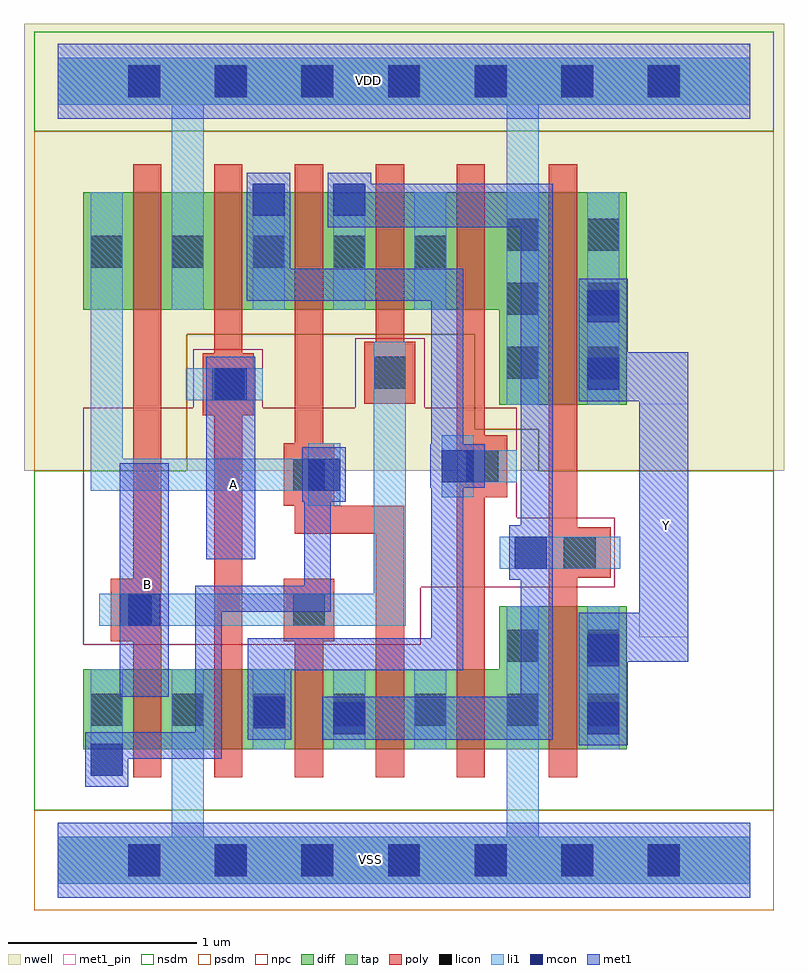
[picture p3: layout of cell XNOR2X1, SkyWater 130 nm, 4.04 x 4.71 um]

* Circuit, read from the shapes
.subckt XNOR2X1 A B VDD VSS Y
XM1 VSS B n1 VSS sky130_fd_pr__nfet_01v8 w=0.425 l=0.15
XM2 n2 A VSS VSS sky130_fd_pr__nfet_01v8 w=0.425 l=0.15
XM3 n3 B n2 VSS sky130_fd_pr__nfet_01v8 w=0.425 l=0.15
XM4 n4 n1 n3 VSS sky130_fd_pr__nfet_01v8 w=0.425 l=0.15
XM5 VSS n2 n4 VSS sky130_fd_pr__nfet_01v8 w=0.425 l=0.15
XM6 Y n3 VSS VSS sky130_fd_pr__nfet_01v8 w=0.76 l=0.15
XM7 VDD B n1 VDD sky130_fd_pr__pfet_01v8 w=0.625 l=0.15
XM8 n2 A VDD VDD sky130_fd_pr__pfet_01v8 w=0.625 l=0.15
XM9 n3 n1 n2 VDD sky130_fd_pr__pfet_01v8 w=0.625 l=0.15
XM10 n5 B n3 VDD sky130_fd_pr__pfet_01v8 w=0.625 l=0.15
XM11 VDD n2 n5 VDD sky130_fd_pr__pfet_01v8 w=0.625 l=0.15
XM12 Y n3 VDD VDD sky130_fd_pr__pfet_01v8 w=1.13 l=0.15
.ends

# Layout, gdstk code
from math import pi, radians
import gdstk
lib = gdstk.Library(unit=1e-6, precision=1e-09)
def R(c, l, rs):  # rectangles x0, y0, x1, y1
    for r in rs: c.add(gdstk.rectangle(r[:2], r[2:], *l))
def A(c, l, x, y, w, h, nx, ny, dx, dy):  # array of equal rectangles
    R(c, l, [(x+i*dx, y+j*dy, x+i*dx+w, y+j*dy+h) for i in range(nx) for j in range(ny)])
def P(c, l, *ps):  # polygons
    for p in ps: c.add(gdstk.Polygon(p, *l))
nwell = (64, 20)
diff = (65, 20)
tap = (65, 44)
poly = (66, 20)
licon = (66, 44)
li1 = (67, 20)
mcon = (67, 44)
met1_pin = (68, 16)
met1 = (68, 20)
nsdm = (93, 44)
psdm = (94, 20)
npc = (95, 20)

l1m1_c_cdns_750710154097 = lib.new_cell('L1M1_C_CDNS_750710154097')
R(l1m1_c_cdns_750710154097, li1, [(-0.085,-0.085,0.085,0.165)])
R(l1m1_c_cdns_750710154097, mcon, [(-0.085,-0.085,0.085,0.085)])
R(l1m1_c_cdns_750710154097, met1, [(-0.115,-0.145,0.115,0.145)])

l1m1_c_cdns_750710154091 = lib.new_cell('L1M1_C_CDNS_750710154091')
R(l1m1_c_cdns_750710154091, li1, [(-0.085,-0.165,0.085,0.165)])
R(l1m1_c_cdns_750710154091, mcon, [(-0.085,-0.085,0.085,0.085)])
R(l1m1_c_cdns_750710154091, met1, [(-0.115,-0.145,0.115,0.145)])

pyl1con_c_cdns_750710154 = lib.new_cell('PYL1CON_C_CDNS_750710154092')
R(pyl1con_c_cdns_750710154, poly, [(-0.135,-0.165,0.135,0.165)])
R(pyl1con_c_cdns_750710154, licon, [(-0.085,-0.085,0.085,0.085)])
R(pyl1con_c_cdns_750710154, npc, [(-0.185,-0.185,0.185,0.185)])

c_l1m1_c_cdns_750710154091 = lib.new_cell('L1M1_C_CDNS_7507101540910')
R(c_l1m1_c_cdns_750710154091, li1, [(-0.085,-0.165,0.085,0.085)])
R(c_l1m1_c_cdns_750710154091, mcon, [(-0.085,-0.085,0.085,0.085)])
R(c_l1m1_c_cdns_750710154091, met1, [(-0.115,-0.145,0.115,0.145)])

l1m1_c_cdns_750710154093 = lib.new_cell('L1M1_C_CDNS_750710154093')
R(l1m1_c_cdns_750710154093, li1, [(-0.085,-0.165,0.085,0.165)])
R(l1m1_c_cdns_750710154093, mcon, [(-0.085,-0.085,0.085,0.085)])
R(l1m1_c_cdns_750710154093, met1, [(-0.145,-0.115,0.145,0.115)])

l1m1_c_cdns_750710154094 = lib.new_cell('L1M1_C_CDNS_750710154094')
R(l1m1_c_cdns_750710154094, li1, [(-0.085,-0.345,0.085,0.345)])
R(l1m1_c_cdns_750710154094, mcon, [(-0.085,-0.265,0.085,-0.095), (-0.085,0.095,0.085,0.265)])
R(l1m1_c_cdns_750710154094, met1, [(-0.115,-0.325,0.115,0.325)])

l1m1_c_cdns_750710154090 = lib.new_cell('L1M1_C_CDNS_750710154090')
R(l1m1_c_cdns_750710154090, li1, [(-0.165,-0.085,0.165,0.085)])
R(l1m1_c_cdns_750710154090, mcon, [(-0.085,-0.085,0.085,0.085)])
R(l1m1_c_cdns_750710154090, met1, [(-0.115,-0.145,0.115,0.145)])

xnor2x1 = lib.new_cell('XNOR2X1')
R(xnor2x1, nwell, [(-0.18,2.07,3.86,4.305), (2.165,2.24,3.205,3.73), (-0.045,2.745,0.785,3.73), (0.425,2.745,1.215,3.73), (0.855,2.745,1.815,3.73), (1.455,2.745,2.245,3.73), (1.885,2.745,2.525,3.73), (-0.18,3.875,3.86,4.445)])
A(xnor2x1, diff, 0.4, 0.59, 0.15, 0.425, 5, 1, 0.43, 0)
A(xnor2x1, diff, 0.4, 2.925, 0.15, 0.625, 5, 1, 0.43, 0)
R(xnor2x1, diff, [(0.135,0.59,0.4,1.015), (0.55,0.59,0.605,1.015), (0.605,0.59,0.83,1.015), (0.98,0.59,1.205,1.015), (1.205,0.59,1.26,1.015), (1.41,0.59,1.465,1.015), (1.465,0.59,1.69,1.015), (1.84,0.59,1.895,1.015), (1.895,0.59,2.12,1.015), (2.27,0.59,2.345,1.015), (2.345,0.59,2.61,1.35), (2.61,0.59,2.76,1.35), (2.76,0.59,3.025,1.35), (2.345,2.42,2.61,3.55), (2.61,2.42,2.76,3.55), (2.76,2.42,3.025,3.55), (0.135,2.925,0.4,3.55), (0.55,2.925,0.605,3.55), (0.605,2.925,0.83,3.55), (0.98,2.925,1.035,3.55), (1.035,2.925,1.26,3.55), (1.41,2.925,1.635,3.55), (1.635,2.925,1.69,3.55), (1.84,2.925,2.065,3.55), (2.065,2.925,2.12,3.55), (2.27,2.925,2.345,3.55)])
A(xnor2x1, poly, 0.4, 0.44, 0.15, 0.055, 5, 2, 0.43, 0.67)
A(xnor2x1, poly, 0.4, 0.495, 0.15, 0.095, 5, 2, 0.43, 0.52)
A(xnor2x1, poly, 0.4, 0.59, 0.15, 0.425, 5, 1, 0.43, 0)
A(xnor2x1, poly, 0.4, 2.775, 0.15, 0.055, 5, 2, 0.43, 0.87)
A(xnor2x1, poly, 0.4, 2.83, 0.15, 0.095, 5, 2, 0.43, 0.72)
A(xnor2x1, poly, 0.4, 2.925, 0.15, 0.625, 5, 1, 0.43, 0)
R(xnor2x1, poly, [(2.61,0.44,2.76,0.495), (2.61,0.495,2.76,0.59), (2.61,0.59,2.76,1.35), (2.61,1.35,2.76,1.445), (2.61,1.445,2.76,1.5), (2.61,2.27,2.76,2.325), (2.61,2.325,2.76,2.42), (2.61,2.42,2.76,3.55), (2.61,3.55,2.76,3.645), (2.61,3.645,2.76,3.7)])
A(xnor2x1, licon, 0.375, -0.085, 0.17, 0.17, 7, 2, 0.46, 4.14)
A(xnor2x1, licon, 0.175, 0.715, 0.17, 0.17, 5, 2, 0.43, 2.435)
A(xnor2x1, licon, 2.385, 2.56, 0.17, 0.17, 1, 3, 0, 0.34)
A(xnor2x1, licon, 2.815, 2.56, 0.17, 0.17, 1, 3, 0, 0.34)
R(xnor2x1, licon, [(2.385,0.715,2.555,0.885), (2.815,0.715,2.985,0.885), (2.385,1.055,2.555,1.225), (2.815,1.055,2.985,1.225)])
A(xnor2x1, li1, 0.175, 0.59, 0.17, 0.425, 5, 1, 0.43, 0)
A(xnor2x1, li1, 0.175, 2.925, 0.17, 0.625, 5, 1, 0.43, 0)
R(xnor2x1, li1, [(2.385,0.59,2.555,1.35), (2.815,0.59,2.985,1.35), (2.385,2.42,2.555,3.55), (2.815,2.42,2.985,3.55)])
A(xnor2x1, mcon, 0.375, -0.085, 0.17, 0.17, 7, 2, 0.46, 4.14)
R(xnor2x1, met1_pin, [(0.33,0.87,0.59,2.11), (3.09,1.185,3.35,2.425), (0.79,1.6,1.05,2.675)])
R(xnor2x1, nsdm, [(-0.005,0.46,0.615,1.145), (0.595,0.46,1.215,1.145), (1.195,0.46,1.475,1.145), (1.455,0.46,1.905,1.145), (1.885,0.46,2.225,1.145), (2.205,0.46,3.165,1.48), (-0.125,3.875,3.805,4.405), (-0.125,3.93,3.805,4.35)])
P(xnor2x1, nsdm, [(3.805,2.07),(2.555,2.07),(2.555,2.29),(2.215,2.29),(2.215,2.795),(0.685,2.795),(0.685,2.07),(-0.125,2.07),(-0.125,0.265),(3.805,0.265)])
R(xnor2x1, psdm, [(-0.125,-0.265,3.805,0.265), (-0.125,-0.21,3.805,0.21), (2.555,2.07,3.805,2.29), (2.215,2.29,3.165,3.68), (-0.005,2.795,0.615,3.68), (0.595,2.795,1.045,3.68), (1.025,2.795,1.645,3.68), (1.625,2.795,2.075,3.68), (2.055,2.795,2.345,3.68)])
P(xnor2x1, psdm, [(3.805,3.875),(-0.125,3.875),(-0.125,2.07),(0.685,2.07),(0.685,2.795),(2.215,2.795),(2.215,2.29),(3.805,2.29)])
P(xnor2x1, npc, [(2.83,1.82),(2.44,1.82),(2.44,2.405),(0.135,2.405),(0.135,1.145),(1.93,1.145),(1.93,1.45),(2.83,1.45)])
xnor2x1.add(gdstk.FlexPath([(1.765,1.165),(1.765,1.81)], 0.15, ends=(0, 0.075), simple_path=True, layer=66, datatype=20))  # poly
xnor2x1.add(gdstk.FlexPath([(1.395,1.81),(1.765,1.81)], 0.15, ends="extended", simple_path=True, layer=66, datatype=20))  # poly
xnor2x1.add(gdstk.FlexPath([(1.335,2.05),(1.335,2.775)], 0.15, ends=(0.165, 0), simple_path=True, layer=66, datatype=20))  # poly
xnor2x1.add(gdstk.FlexPath([(1.335,2.05),(1.395,2.05)], 0.33, ends=(0.075, 0.075), simple_path=True, layer=66, datatype=20))  # poly
xnor2x1.add(gdstk.FlexPath([(1.335,1.81),(1.335,2.05)], 0.15, ends=(0.075, 0.165), simple_path=True, layer=66, datatype=20))  # poly
xnor2x1.add(gdstk.FlexPath([(1.335,2.05),(1.335,1.96)], 0.27, ends=(0.165, 0.075), simple_path=True, layer=66, datatype=20))  # poly
xnor2x1.add(gdstk.FlexPath([(1.765,2.775),(1.765,2.59)], 0.15, ends="flush", simple_path=True, layer=66, datatype=20))  # poly
xnor2x1.add(gdstk.FlexPath([(2.195,2.775),(2.195,1.095)], 0.15, ends="flush", simple_path=True, layer=66, datatype=20))  # poly
xnor2x1.add(gdstk.FlexPath([(0.905,2.88),(0.905,1.07)], 0.15, ends="flush", simple_path=True, layer=66, datatype=20))  # poly
xnor2x1.add(gdstk.FlexPath([(0.475,1.165),(0.475,2.85)], 0.15, ends="flush", simple_path=True, layer=66, datatype=20))  # poly
xnor2x1.add(gdstk.FlexPath([(2.685,2.27),(2.685,1.415)], 0.15, ends="flush", simple_path=True, layer=66, datatype=20))  # poly
xnor2x1.add(gdstk.FlexPath([(2.47,0),(3.42,0)], 0.25, ends=(0.085, 0.085), simple_path=True, layer=67, datatype=20))  # li1
xnor2x1.add(gdstk.FlexPath([(3.42,0),(3.595,0)], 0.25, ends=(0.085, 0.085), simple_path=True, layer=67, datatype=20))  # li1
xnor2x1.add(gdstk.FlexPath([(0.69,0),(2.47,0)], 0.25, ends=(0.085, 0.085), simple_path=True, layer=67, datatype=20))  # li1
xnor2x1.add(gdstk.FlexPath([(3.595,0),(3.68,0)], 0.25, ends=(0.085, 0), simple_path=True, layer=67, datatype=20))  # li1
xnor2x1.add(gdstk.FlexPath([(0,0),(0.69,0)], 0.25, ends=(0, 0.085), simple_path=True, layer=67, datatype=20))  # li1
xnor2x1.add(gdstk.FlexPath([(2.47,4.14),(3.42,4.14)], 0.25, ends=(0.085, 0.085), simple_path=True, layer=67, datatype=20))  # li1
xnor2x1.add(gdstk.FlexPath([(0,4.14),(0.69,4.14)], 0.25, ends=(0, 0.085), simple_path=True, layer=67, datatype=20))  # li1
xnor2x1.add(gdstk.FlexPath([(3.42,4.14),(3.595,4.14)], 0.25, ends=(0.085, 0.085), simple_path=True, layer=67, datatype=20))  # li1
xnor2x1.add(gdstk.FlexPath([(0.69,4.14),(2.47,4.14)], 0.25, ends=(0.085, 0.085), simple_path=True, layer=67, datatype=20))  # li1
xnor2x1.add(gdstk.FlexPath([(3.595,4.14),(3.68,4.14)], 0.25, ends=(0.085, 0), simple_path=True, layer=67, datatype=20))  # li1
xnor2x1.add(gdstk.FlexPath([(0.26,2.53),(0.18,2.53)], 0.17, ends=(0.085, 0), simple_path=True, layer=67, datatype=20))  # li1
xnor2x1.add(gdstk.FlexPath([(0.4,2.05),(0.26,2.05)], 0.17, ends=(0, 0.085), simple_path=True, layer=67, datatype=20))  # li1
xnor2x1.add(gdstk.FlexPath([(0.26,2.05),(0.26,2.53)], 0.17, ends="extended", simple_path=True, layer=67, datatype=20))  # li1
xnor2x1.add(gdstk.FlexPath([(2.47,0.655),(2.47,0)], 0.17, ends="flush", simple_path=True, layer=67, datatype=20))  # li1
xnor2x1.add(gdstk.FlexPath([(0.69,0.655),(0.69,0)], 0.17, ends="flush", simple_path=True, layer=67, datatype=20))  # li1
xnor2x1.add(gdstk.FlexPath([(2.47,3.55),(2.47,4.14)], 0.17, ends="flush", simple_path=True, layer=67, datatype=20))  # li1
xnor2x1.add(gdstk.FlexPath([(0.69,3.55),(0.69,4.14)], 0.17, ends="flush", simple_path=True, layer=67, datatype=20))  # li1
xnor2x1.add(gdstk.FlexPath([(0.685,2.53),(1.09,2.53)], 0.17, ends="flush", simple_path=True, layer=67, datatype=20))  # li1
xnor2x1.add(gdstk.FlexPath([(1.765,1.33),(1.765,2.755)], 0.17, ends=(0.085, 0), simple_path=True, layer=67, datatype=20))  # li1
xnor2x1.add(gdstk.FlexPath([(1.5,2.05),(0.4,2.05)], 0.17, ends="flush", simple_path=True, layer=67, datatype=20))  # li1
xnor2x1.add(gdstk.FlexPath([(2.135,2.095),(2.44,2.095)], 0.17, ends="flush", simple_path=True, layer=67, datatype=20))  # li1
xnor2x1.add(gdstk.FlexPath([(2.525,1.635),(2.99,1.635)], 0.17, ends="flush", simple_path=True, layer=67, datatype=20))  # li1
xnor2x1.add(gdstk.FlexPath([(0.26,2.53),(0.26,2.925)], 0.17, ends=(0.085, 0), simple_path=True, layer=67, datatype=20))  # li1
xnor2x1.add(gdstk.FlexPath([(1.765,1.33),(0.22,1.33)], 0.17, ends=(0.085, 0), simple_path=True, layer=67, datatype=20))  # li1
xnor2x1.add(gdstk.FlexPath([(1.85,1.33),(1.765,1.33)], 0.17, ends=(0, 0.085), simple_path=True, layer=67, datatype=20))  # li1
xnor2x1.add(gdstk.FlexPath([(0,4.14),(3.68,4.14)], 0.4, ends="flush", simple_path=True, layer=68, datatype=16))  # met1_pin
xnor2x1.add(gdstk.FlexPath([(0,0),(3.68,0)], 0.4, ends="flush", simple_path=True, layer=68, datatype=16))  # met1_pin
xnor2x1.add(gdstk.FlexPath([(1.38,2.05),(1.38,1.39)], 0.14, ends=(0, 0.07), simple_path=True, layer=68, datatype=20))  # met1
xnor2x1.add(gdstk.FlexPath([(1.38,1.39),(0.8,1.39)], 0.14, ends="extended", simple_path=True, layer=68, datatype=20))  # met1
xnor2x1.add(gdstk.FlexPath([(0.8,1.39),(0.8,0.61)], 0.14, ends="extended", simple_path=True, layer=68, datatype=20))  # met1
xnor2x1.add(gdstk.FlexPath([(0.8,0.61),(0.26,0.61)], 0.14, ends=(0.07, 0.115), simple_path=True, layer=68, datatype=20))  # met1
xnor2x1.add(gdstk.FlexPath([(0,4.14),(3.68,4.14)], 0.4, ends="flush", simple_path=True, layer=68, datatype=20))  # met1
xnor2x1.add(gdstk.FlexPath([(2.9,1.185),(2.9,0.935)], 0.26, ends=(0.13, 0.325), simple_path=True, layer=68, datatype=20))  # met1
xnor2x1.add(gdstk.FlexPath([(3.22,1.185),(2.9,1.185)], 0.26, ends="extended", simple_path=True, layer=68, datatype=20))  # met1
xnor2x1.add(gdstk.FlexPath([(2.9,2.57),(2.9,2.765)], 0.26, ends=(0.13, 0.325), simple_path=True, layer=68, datatype=20))  # met1
xnor2x1.add(gdstk.FlexPath([(1.12,3.51),(1.12,3.06)], 0.23, ends=(0, 0.085), simple_path=True, layer=68, datatype=20))  # met1
xnor2x1.add(gdstk.FlexPath([(1.125,3.06),(2.07,3.06)], 0.17, ends=(0.115, 0.085), simple_path=True, layer=68, datatype=20))  # met1
xnor2x1.add(gdstk.FlexPath([(2.07,3.06),(2.07,1.095)], 0.17, ends="extended", simple_path=True, layer=68, datatype=20))  # met1
xnor2x1.add(gdstk.FlexPath([(2.07,1.095),(1.125,1.095)], 0.17, ends=(0.085, 0.115), simple_path=True, layer=68, datatype=20))  # met1
xnor2x1.add(gdstk.FlexPath([(3.22,1.185),(3.22,2.425)], 0.26, ends="flush", simple_path=True, layer=68, datatype=20))  # met1
xnor2x1.add(gdstk.FlexPath([(3.22,2.57),(2.9,2.57)], 0.26, ends="extended", simple_path=True, layer=68, datatype=20))  # met1
xnor2x1.add(gdstk.FlexPath([(0.92,1.6),(0.92,2.675)], 0.26, ends="flush", simple_path=True, layer=68, datatype=20))  # met1
xnor2x1.add(gdstk.FlexPath([(2.515,0.755),(1.54,0.755)], 0.23, ends=(0.115, 0), simple_path=True, layer=68, datatype=20))  # met1
xnor2x1.add(gdstk.FlexPath([(3.22,2.425),(3.22,2.57)], 0.26, ends=(0, 0.13), simple_path=True, layer=68, datatype=20))  # met1
xnor2x1.add(gdstk.FlexPath([(0,0),(3.68,0)], 0.4, ends="flush", simple_path=True, layer=68, datatype=20))  # met1
xnor2x1.add(gdstk.FlexPath([(2.58,0.755),(2.515,0.755)], 0.23, ends=(0, 0.115), simple_path=True, layer=68, datatype=20))  # met1
xnor2x1.add(gdstk.FlexPath([(0.46,0.87),(0.46,2.11)], 0.26, ends="flush", simple_path=True, layer=68, datatype=20))  # met1
xnor2x1.add(gdstk.FlexPath([(2.545,3.595),(2.545,0.85)], 0.17, ends=(0, 0.085), simple_path=True, layer=68, datatype=20))  # met1
xnor2x1.add(gdstk.FlexPath([(1.125,1.095),(1.125,0.85)], 0.23, ends=(0.085, 0), simple_path=True, layer=68, datatype=20))  # met1
xnor2x1.add(gdstk.FlexPath([(2.505,3.48),(1.55,3.48)], 0.23, ends="flush", simple_path=True, layer=68, datatype=20))  # met1
xnor2x1.add(gdstk.FlexPath([(0.26,0.61),(0.26,0.535)], 0.23, ends=(0.07, 0), simple_path=True, layer=68, datatype=20))  # met1
xnor2x1.add(gdstk.FlexPath([(0,0),(3.68,0)], 0.25, ends="flush", simple_path=True, layer=65, datatype=44))  # tap
xnor2x1.add(gdstk.FlexPath([(0,4.14),(3.68,4.14)], 0.25, ends="flush", simple_path=True, layer=65, datatype=44))  # tap
xnor2x1.add(gdstk.Reference(l1m1_c_cdns_750710154097, (0.26,0.535)))
xnor2x1.add(gdstk.Reference(l1m1_c_cdns_750710154091, (1.125,0.785)))
xnor2x1.add(gdstk.Reference(l1m1_c_cdns_750710154091, (1.415,2.05), rotation=pi))
xnor2x1.add(gdstk.Reference(pyl1con_c_cdns_750710154, (0.415,1.33)))
xnor2x1.add(gdstk.Reference(pyl1con_c_cdns_750710154, (1.765,2.59)))
xnor2x1.add(gdstk.Reference(pyl1con_c_cdns_750710154, (0.905,2.53)))
xnor2x1.add(gdstk.Reference(pyl1con_c_cdns_750710154, (2.775,1.635), rotation=3*pi/2))
xnor2x1.add(gdstk.Reference(pyl1con_c_cdns_750710154, (1.335,1.33)))
xnor2x1.add(gdstk.Reference(pyl1con_c_cdns_750710154, (2.255,2.095)))
xnor2x1.add(gdstk.Reference(pyl1con_c_cdns_750710154, (1.335,2.05)))
xnor2x1.add(gdstk.Reference(c_l1m1_c_cdns_750710154091, (1.55,3.51)))
xnor2x1.add(gdstk.Reference(c_l1m1_c_cdns_750710154091, (1.12,3.51)))
xnor2x1.add(gdstk.Reference(l1m1_c_cdns_750710154093, (1.55,0.755)))
xnor2x1.add(gdstk.Reference(l1m1_c_cdns_750710154094, (2.9,0.935)))
xnor2x1.add(gdstk.Reference(l1m1_c_cdns_750710154094, (2.9,2.765)))
xnor2x1.add(gdstk.Reference(l1m1_c_cdns_750710154090, (2.515,1.635)))
xnor2x1.add(gdstk.Reference(l1m1_c_cdns_750710154090, (0.92,2.53), x_reflection=True))
xnor2x1.add(gdstk.Reference(l1m1_c_cdns_750710154090, (2.125,2.095), rotation=3*pi/2))
xnor2x1.add(gdstk.Reference(l1m1_c_cdns_750710154090, (0.46,1.33), x_reflection=True))
xnor2x1.add(gdstk.Label('VSS', (1.66,0.005), layer=68, texttype=16))
xnor2x1.add(gdstk.Label('VDD', (1.65,4.145), layer=68, texttype=16))
xnor2x1.add(gdstk.Label('Y', (3.235,1.78), layer=68, texttype=16))
xnor2x1.add(gdstk.Label('A', (0.935,1.995), layer=68, texttype=16))
xnor2x1.add(gdstk.Label('B', (0.475,1.465), layer=68, texttype=16))

lib.write_gds('XNOR2X1.gds')
